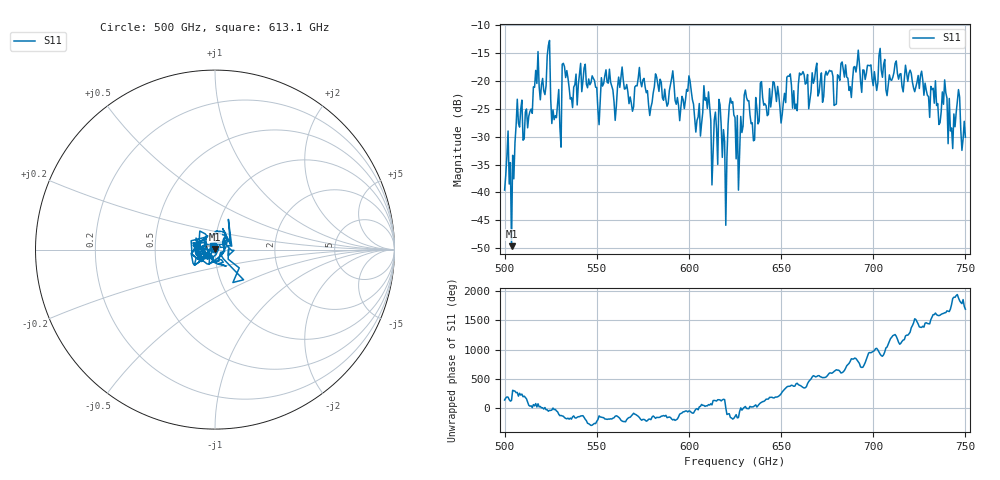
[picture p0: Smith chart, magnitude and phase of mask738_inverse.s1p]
!Created with skrf (http://scikit-rf.org).
# GHz S MA R 50.0
!freq magS11 angS11
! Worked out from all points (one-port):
!   401 points, 500 GHz to 750 GHz, reference 50 ohm
!   lowest |S11| = -49.7 dB at 503.8 GHz (marker M1), VSWR 1.01, Z = 49.8 + j0.272 ohm
!   |S11| at or under -10 dB: start of sweep to end of sweep
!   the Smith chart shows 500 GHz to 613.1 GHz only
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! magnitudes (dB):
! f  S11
! 500 GHz  -39.6
! 503.8 GHz  -49.7
! 507.5 GHz  -27.6
! 513.8 GHz  -25.5
! 516.9 GHz  -18.1
! 523.8 GHz  -13.6
! 526.9 GHz  -26.9
! 531.2 GHz  -17.0
! 532.5 GHz  -17.4
! 550.6 GHz  -25.1
! 562.5 GHz  -21.1
! 593.8 GHz  -23.0
! 600 GHz  -19.1
! 605 GHz  -26.5
! 609.4 GHz  -23.0
! 612.5 GHz  -38.7
! 617.5 GHz  -27.9
! 619.4 GHz  -30.9
! 622.5 GHz  -23.0
! 625 GHz  -26.6
! 626.9 GHz  -39.6
! 631.2 GHz  -23.0
! 634.4 GHz  -27.5
! 640 GHz  -23.0
! 656.2 GHz  -24.9
! 687.5 GHz  -21.0
! 718.8 GHz  -20.1
! 750 GHz  -30.1
